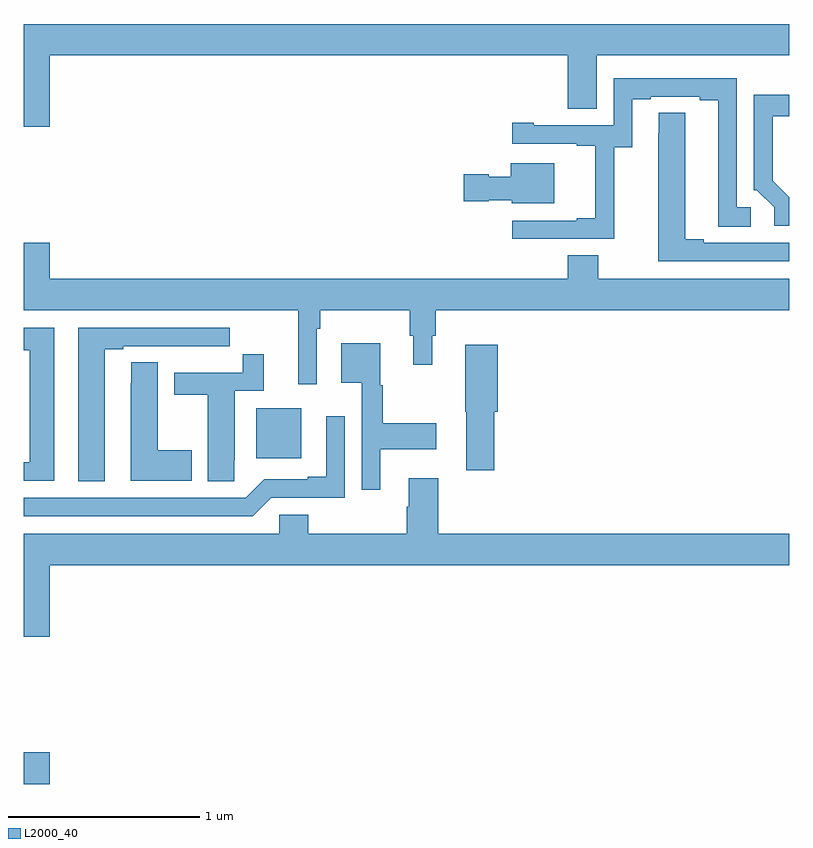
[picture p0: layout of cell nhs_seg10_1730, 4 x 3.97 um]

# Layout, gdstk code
import gdstk
lib = gdstk.Library(unit=1e-6, precision=1e-09)
def R(c, l, rs):  # rectangles x0, y0, x1, y1
    for r in rs: c.add(gdstk.rectangle(r[:2], r[2:], *l))
def P(c, l, *ps):  # polygons
    for p in ps: c.add(gdstk.Polygon(p, *l))
L2000_40 = (2000, 40)

nhs_seg10_1730 = lib.new_cell('nhs_seg10_1730')
R(nhs_seg10_1730, L2000_40, [(201,1304.5,201.136,1304.665), (202.214,1306.202,202.45,1306.465)])
P(nhs_seg10_1730, L2000_40, [(201.136,1308.308),(203.843,1308.308),(203.843,1308.028),(203.995,1308.028),(203.995,1308.308),(205,1308.308),(205,1308.472),(201,1308.472),(201,1307.934),(201.136,1307.934)],
  [(204.087,1307.827),(204.181,1307.827),(204.181,1308.078),(204.277,1308.078),(204.277,1308.093),(204.533,1308.093),(204.533,1308.073),(204.629,1308.073),(204.629,1307.413),(204.799,1307.413),(204.799,1307.514),(204.726,1307.514),(204.726,1308.189),(204.084,1308.189),(204.084,1307.943),(203.665,1307.943),(203.665,1307.956),(203.553,1307.956),(203.553,1307.847),(203.891,1307.847),(203.891,1307.835),(203.987,1307.835),(203.987,1307.458),(203.891,1307.458),(203.891,1307.445),(203.553,1307.445),(203.553,1307.349),(204.087,1307.349)],
  [(205,1307.567),(204.913,1307.654),(204.913,1307.991),(205,1307.991),(205,1308.101),(204.816,1308.101),(204.816,1307.604),(204.831,1307.604),(204.921,1307.514),(204.921,1307.418),(205,1307.418)],
  [(205,1307.328),(204.553,1307.328),(204.553,1307.348),(204.457,1307.348),(204.457,1308.008),(204.318,1308.008),(204.318,1307.9),(204.317,1307.9),(204.317,1307.232),(205,1307.232)],
  [(203.773,1307.743),(203.546,1307.743),(203.546,1307.674),(203.43,1307.674),(203.43,1307.687),(203.298,1307.687),(203.298,1307.545),(203.43,1307.545),(203.43,1307.552),(203.55,1307.552),(203.55,1307.534),(203.773,1307.534)],
  [(201.136,1307.329),(201,1307.329),(201,1306.976),(202.433,1306.976),(202.433,1306.59),(202.53,1306.59),(202.53,1306.88),(202.55,1306.88),(202.55,1306.976),(203.017,1306.976),(203.017,1306.842),(203.036,1306.842),(203.036,1306.692),(203.134,1306.692),(203.134,1306.842),(203.153,1306.842),(203.153,1306.976),(205,1306.976),(205,1307.14),(204.003,1307.14),(204.003,1307.264),(203.843,1307.264),(203.843,1307.14),(201.136,1307.14)],
  [(201.424,1306.773),(201.52,1306.773),(201.52,1306.788),(201.796,1306.788),(201.796,1306.787),(201.962,1306.787),(201.962,1306.788),(202.075,1306.788),(202.075,1306.884),(201.284,1306.884),(201.284,1306.081),(201.424,1306.081)],
  [(201.16,1306.884),(201,1306.884),(201,1306.768),(201.032,1306.768),(201.032,1306.182),(201,1306.182),(201,1306.086),(201.16,1306.086)],
  [(202.864,1306.25),(203.155,1306.25),(203.155,1306.385),(202.876,1306.385),(202.876,1306.584),(202.864,1306.584),(202.864,1306.804),(202.658,1306.804),(202.658,1306.598),(202.767,1306.598),(202.767,1306.038),(202.864,1306.038)],
  [(203.459,1306.446),(203.477,1306.446),(203.477,1306.795),(203.306,1306.795),(203.306,1306.446),(203.312,1306.446),(203.312,1306.14),(203.459,1306.14)],
  [(202.101,1306.192),(202.102,1306.192),(202.102,1306.554),(202.253,1306.554),(202.253,1306.747),(202.144,1306.747),(202.144,1306.65),(201.785,1306.65),(201.785,1306.534),(201.962,1306.534),(201.962,1306.081),(202.101,1306.081)],
  [(201.877,1306.245),(201.7,1306.245),(201.7,1306.703),(201.561,1306.703),(201.561,1306.595),(201.56,1306.595),(201.56,1306.085),(201.877,1306.085)],
  [(202.293,1305.996),(202.677,1305.996),(202.677,1306.423),(202.58,1306.423),(202.58,1306.105),(202.484,1306.105),(202.484,1306.092),(202.257,1306.092),(202.161,1305.996),(201,1305.996),(201,1305.9),(202.197,1305.9)],
  [(201.136,1305.644),(205,1305.644),(205,1305.808),(203.165,1305.808),(203.165,1306.099),(203.012,1306.099),(203.012,1305.95),(203,1305.95),(203,1305.808),(202.487,1305.808),(202.487,1305.906),(202.335,1305.906),(202.335,1305.808),(201,1305.808),(201,1305.27),(201.136,1305.27)])

lib.write_gds('nhs_seg10_1730.gds')
